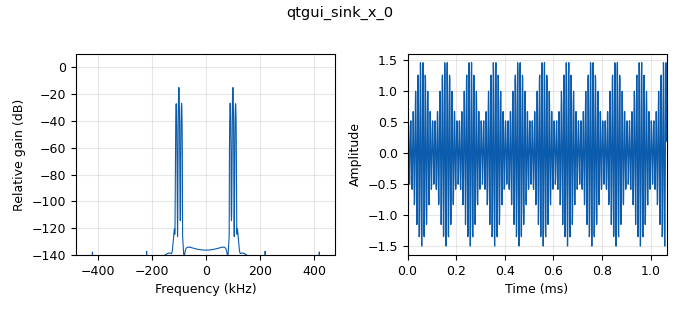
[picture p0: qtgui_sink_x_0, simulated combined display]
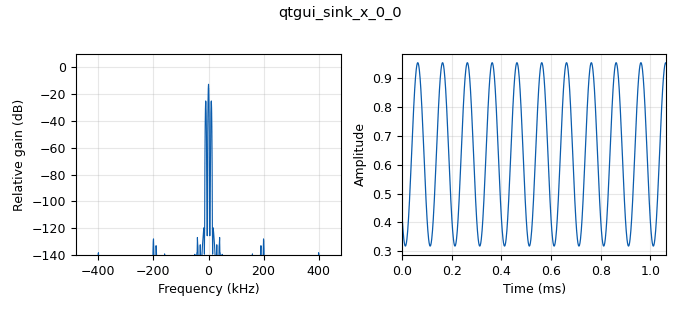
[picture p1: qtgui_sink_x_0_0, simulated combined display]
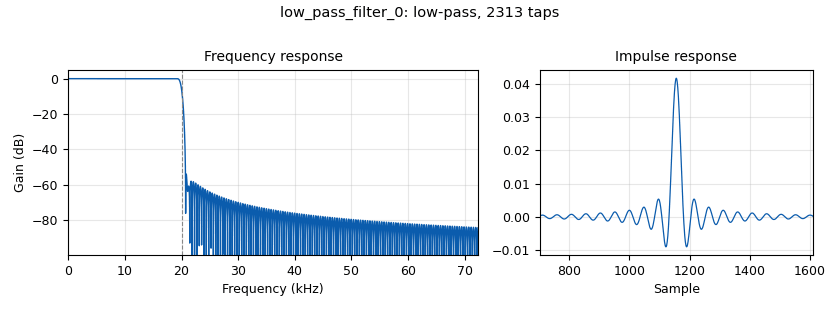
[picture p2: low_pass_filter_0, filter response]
<?xml version='1.0' encoding='utf-8'?>
<?grc format='1' created='3.7.11'?>
<flow_graph>
<block>
<key>options</key>
<param><key>id</key><value>top_block</value></param>
<param><key>generate_options</key><value>qt_gui</value></param>
</block>
<block>
<key>variable</key>
<param><key>id</key><value>samp_rate</value></param>
<param><key>value</key><value>960000</value></param>
</block>
<block>
<key>analog_sig_source_x</key>
<param><key>id</key><value>analog_sig_source_x_0</value></param>
<param><key>amp</key><value>1</value></param>
<param><key>freq</key><value>10000</value></param>
<param><key>offset</key><value>0</value></param>
<param><key>type</key><value>float</value></param>
<param><key>samp_rate</key><value>samp_rate</value></param>
<param><key>waveform</key><value>analog.GR_SIN_WAVE</value></param>
</block>
<block>
<key>analog_sig_source_x</key>
<param><key>id</key><value>analog_sig_source_x_1</value></param>
<param><key>amp</key><value>1</value></param>
<param><key>freq</key><value>100000</value></param>
<param><key>offset</key><value>0</value></param>
<param><key>type</key><value>float</value></param>
<param><key>samp_rate</key><value>samp_rate</value></param>
<param><key>waveform</key><value>analog.GR_COS_WAVE</value></param>
</block>
<block>
<key>blocks_abs_xx</key>
<param><key>id</key><value>blocks_abs_xx_0</value></param>
<param><key>type</key><value>float</value></param>
</block>
<block>
<key>blocks_add_const_vxx</key>
<param><key>id</key><value>blocks_add_const_vxx_0</value></param>
<param><key>const</key><value>1</value></param>
<param><key>type</key><value>float</value></param>
</block>
<block>
<key>blocks_multiply_const_vxx</key>
<param><key>id</key><value>blocks_multiply_const_vxx_0</value></param>
<param><key>const</key><value>0.5</value></param>
<param><key>type</key><value>float</value></param>
</block>
<block>
<key>blocks_multiply_xx</key>
<param><key>id</key><value>blocks_multiply_xx_0</value></param>
<param><key>type</key><value>float</value></param>
</block>
<block>
<key>blocks_throttle</key>
<param><key>id</key><value>blocks_throttle_0</value></param>
<param><key>samples_per_second</key><value>48e3</value></param>
<param><key>type</key><value>float</value></param>
</block>
<block>
<key>low_pass_filter</key>
<param><key>id</key><value>low_pass_filter_0</value></param>
<param><key>cutoff_freq</key><value>20e3</value></param>
<param><key>type</key><value>interp_fir_filter_fff</value></param>
<param><key>gain</key><value>1</value></param>
<param><key>interp</key><value>1</value></param>
<param><key>samp_rate</key><value>samp_rate</value></param>
<param><key>width</key><value>1000</value></param>
<param><key>win</key><value>firdes.WIN_HAMMING</value></param>
</block>
<block>
<key>qtgui_sink_x</key>
<param><key>id</key><value>qtgui_sink_x_0</value></param>
<param><key>bw</key><value>samp_rate</value></param>
<param><key>fc</key><value>0</value></param>
<param><key>freqchangevar</key><value>None</value></param>
<param><key>fftsize</key><value>1024</value></param>
<param><key>gui_hint</key><value>tab@0</value></param>
<param><key>showports</key><value>True</value></param>
<param><key>type</key><value>float</value></param>
<param><key>wintype</key><value>firdes.WIN_BLACKMAN_hARRIS</value></param>
</block>
<block>
<key>qtgui_sink_x</key>
<param><key>id</key><value>qtgui_sink_x_0_0</value></param>
<param><key>bw</key><value>samp_rate</value></param>
<param><key>fc</key><value>0</value></param>
<param><key>freqchangevar</key><value>None</value></param>
<param><key>fftsize</key><value>1024</value></param>
<param><key>gui_hint</key><value>tab@1</value></param>
<param><key>showports</key><value>True</value></param>
<param><key>type</key><value>float</value></param>
<param><key>wintype</key><value>firdes.WIN_BLACKMAN_hARRIS</value></param>
</block>
<block>
<key>qtgui_tab_widget</key>
<param><key>id</key><value>tab</value></param>
<param><key>label0</key><value>Modulated</value></param>
<param><key>label1</key><value>Demodulated</value></param>
<param><key>num_tabs</key><value>2</value></param>
</block>
<connection><source_block_id>analog_sig_source_x_0</source_block_id><sink_block_id>blocks_multiply_const_vxx_0</sink_block_id><source_key>0</source_key><sink_key>0</sink_key></connection>
<connection><source_block_id>analog_sig_source_x_1</source_block_id><sink_block_id>blocks_multiply_xx_0</sink_block_id><source_key>0</source_key><sink_key>1</sink_key></connection>
<connection><source_block_id>blocks_abs_xx_0</source_block_id><sink_block_id>low_pass_filter_0</sink_block_id><source_key>0</source_key><sink_key>0</sink_key></connection>
<connection><source_block_id>blocks_add_const_vxx_0</source_block_id><sink_block_id>blocks_multiply_xx_0</sink_block_id><source_key>0</source_key><sink_key>0</sink_key></connection>
<connection><source_block_id>blocks_multiply_const_vxx_0</source_block_id><sink_block_id>blocks_add_const_vxx_0</sink_block_id><source_key>0</source_key><sink_key>0</sink_key></connection>
<connection><source_block_id>blocks_multiply_xx_0</source_block_id><sink_block_id>blocks_abs_xx_0</sink_block_id><source_key>0</source_key><sink_key>0</sink_key></connection>
<connection><source_block_id>blocks_multiply_xx_0</source_block_id><sink_block_id>blocks_throttle_0</sink_block_id><source_key>0</source_key><sink_key>0</sink_key></connection>
<connection><source_block_id>blocks_throttle_0</source_block_id><sink_block_id>qtgui_sink_x_0</sink_block_id><source_key>0</source_key><sink_key>0</sink_key></connection>
<connection><source_block_id>low_pass_filter_0</source_block_id><sink_block_id>qtgui_sink_x_0_0</sink_block_id><source_key>0</source_key><sink_key>0</sink_key></connection>
</flow_graph>
